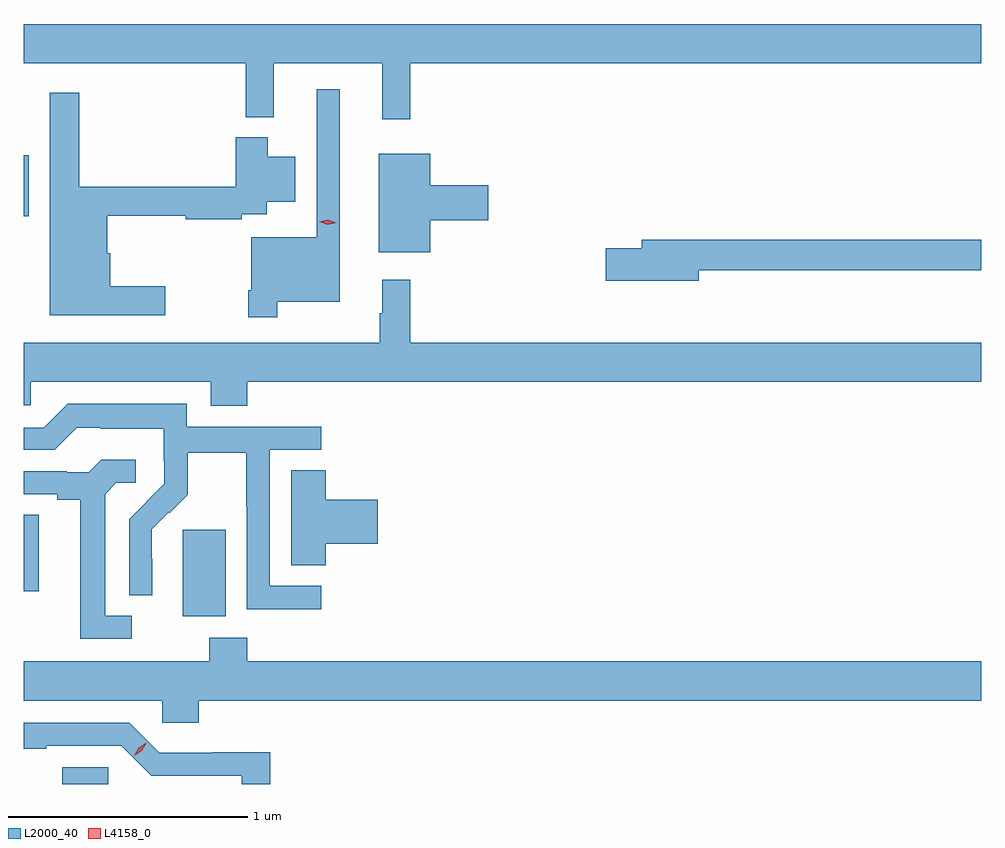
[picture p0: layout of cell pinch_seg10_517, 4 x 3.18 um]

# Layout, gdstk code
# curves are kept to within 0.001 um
import gdstk
lib = gdstk.Library(unit=1e-6, precision=1e-09)
def R(c, l, rs):  # rectangles x0, y0, x1, y1
    for r in rs: c.add(gdstk.rectangle(r[:2], r[2:], *l))
def P(c, l, *ps):  # polygons
    for p in ps: c.add(gdstk.Polygon(p, *l))
L2000_40 = (2000, 40)
L4158_0 = (4158, 0)

pinch_seg10_517 = lib.new_cell('pinch_seg10_517')
R(pinch_seg10_517, L2000_40, [(383.511,1261.34,383.703,1261.41), (384.014,1262.042,384.193,1262.403), (383.35,1262.145,383.413,1262.465), (383.35,1263.713,383.371,1263.967)])
P(pinch_seg10_517, L2000_40, [(384.965,1264.352),(387.35,1264.352),(387.35,1264.516),(383.35,1264.516),(383.35,1264.352),(384.277,1264.352),(384.277,1264.127),(384.395,1264.127),(384.395,1264.352),(384.848,1264.352),(384.848,1264.119),(384.965,1264.119)],
  [(384.409,1263.356),(384.67,1263.356),(384.67,1264.243),(384.573,1264.243),(384.573,1263.625),(384.3,1263.625),(384.3,1263.403),(384.288,1263.403),(384.288,1263.291),(384.409,1263.291)],
  [(383.941,1263.421),(383.71,1263.421),(383.71,1263.558),(383.698,1263.558),(383.698,1263.715),(384.027,1263.715),(384.027,1263.7),(384.26,1263.7),(384.26,1263.72),(384.364,1263.72),(384.364,1263.773),(384.484,1263.773),(384.484,1263.961),(384.37,1263.961),(384.37,1264.042),(384.236,1264.042),(384.236,1263.836),(383.581,1263.836),(383.581,1264.228),(383.459,1264.228),(383.459,1263.299),(383.941,1263.299)],
  [(385.048,1263.695),(385.291,1263.695),(385.291,1263.842),(385.048,1263.842),(385.048,1263.973),(384.833,1263.973),(384.833,1263.563),(385.048,1263.563)],
  [(386.17,1263.486),(387.35,1263.486),(387.35,1263.614),(385.931,1263.614),(385.931,1263.578),(385.782,1263.578),(385.782,1263.443),(386.17,1263.443)],
  [(384.284,1263.02),(387.35,1263.02),(387.35,1263.184),(384.965,1263.184),(384.965,1263.448),(384.848,1263.448),(384.848,1263.308),(384.837,1263.308),(384.837,1263.184),(383.35,1263.184),(383.35,1262.922),(383.379,1262.922),(383.379,1263.02),(384.131,1263.02),(384.131,1262.921),(384.284,1262.921)],
  [(384.592,1262.169),(384.378,1262.169),(384.378,1262.736),(384.592,1262.736),(384.592,1262.832),(384.03,1262.832),(384.03,1262.929),(383.533,1262.929),(383.433,1262.829),(383.35,1262.829),(383.35,1262.736),(383.478,1262.736),(383.571,1262.829),(383.671,1262.829),(383.671,1262.825),(383.934,1262.825),(383.934,1262.691),(383.936,1262.691),(383.936,1262.594),(383.79,1262.446),(383.79,1262.128),(383.886,1262.128),(383.885,1262.405),(383.955,1262.475),(383.958,1262.472),(384.035,1262.549),(384.035,1262.724),(384.28,1262.724),(384.28,1262.5),(384.282,1262.5),(384.282,1262.071),(384.592,1262.071)],
  [(383.8,1262.043),(383.689,1262.043),(383.689,1262.551),(383.736,1262.598),(383.818,1262.598),(383.818,1262.695),(383.674,1262.695),(383.622,1262.643),(383.528,1262.643),(383.528,1262.646),(383.35,1262.646),(383.35,1262.55),(383.489,1262.55),(383.489,1262.528),(383.585,1262.528),(383.585,1261.947),(383.8,1261.947)],
  [(384.611,1262.345),(384.829,1262.345),(384.829,1262.528),(384.611,1262.528),(384.611,1262.651),(384.467,1262.651),(384.467,1262.254),(384.611,1262.254)],
  [(384.08,1261.688),(387.35,1261.688),(387.35,1261.852),(384.284,1261.852),(384.284,1261.951),(384.124,1261.951),(384.124,1261.852),(383.35,1261.852),(383.35,1261.688),(383.928,1261.688),(383.928,1261.595),(384.08,1261.595)],
  [(384.379,1261.472),(384.138,1261.472),(384.138,1261.47),(383.916,1261.47),(383.79,1261.596),(383.35,1261.596),(383.35,1261.488),(383.443,1261.488),(383.443,1261.5),(383.757,1261.5),(383.883,1261.374),(384.26,1261.374),(384.26,1261.34),(384.379,1261.34)])
P(pinch_seg10_517, L4158_0, [(384.619,1263.678),(384.584,1263.689),(384.584,1263.689),(384.584,1263.69),(384.62,1263.698),(384.655,1263.686),(384.655,1263.686),(384.655,1263.686)],
  [(383.811,1261.459),(383.811,1261.459),(383.829,1261.492),(383.86,1261.511),(383.861,1261.511),(383.861,1261.511),(383.843,1261.478),(383.811,1261.459)])

lib.write_gds('pinch_seg10_517.gds')
